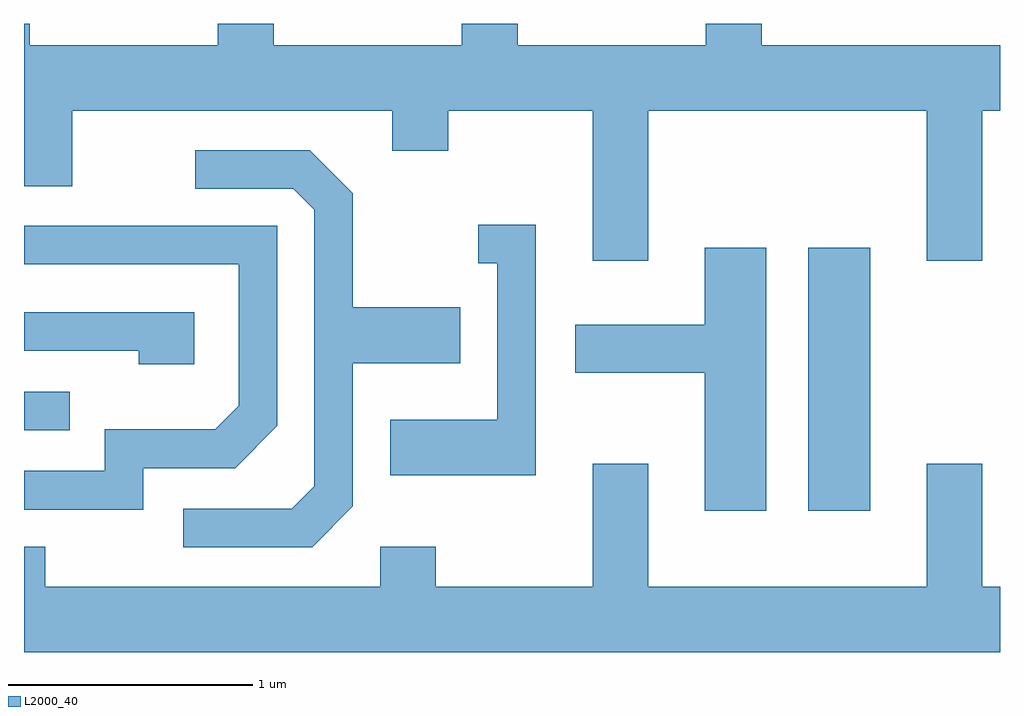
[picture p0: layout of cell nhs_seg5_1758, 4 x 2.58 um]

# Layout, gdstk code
import gdstk
lib = gdstk.Library(unit=1e-6, precision=1e-09)
def R(c, l, rs):  # rectangles x0, y0, x1, y1
    for r in rs: c.add(gdstk.rectangle(r[:2], r[2:], *l))
def P(c, l, *ps):  # polygons
    for p in ps: c.add(gdstk.Polygon(p, *l))
L2000_40 = (2000, 40)

nhs_seg5_1758 = lib.new_cell('nhs_seg5_1758')
R(nhs_seg5_1758, L2000_40, [(240.826,1424.076,241.079,1425.154), (237.611,1424.406,237.798,1424.564)])
P(nhs_seg5_1758, L2000_40, [(239.634,1426.072),(239.406,1426.072),(239.406,1425.984),(238.634,1425.984),(238.634,1426.072),(238.406,1426.072),(238.406,1425.984),(237.634,1425.984),(237.634,1426.072),(237.611,1426.072),(237.611,1425.406),(237.809,1425.406),(237.809,1425.716),(239.121,1425.716),(239.121,1425.551),(239.349,1425.551),(239.349,1425.716),(239.941,1425.716),(239.941,1425.101),(240.169,1425.101),(240.169,1425.716),(241.311,1425.716),(241.311,1425.101),(241.539,1425.101),(241.539,1425.716),(241.611,1425.716),(241.611,1425.984),(240.634,1425.984),(240.634,1426.072),(240.406,1426.072),(240.406,1425.984),(239.634,1425.984)],
  [(238.959,1424.094),(238.959,1424.681),(239.399,1424.681),(239.399,1424.909),(238.959,1424.909),(238.959,1425.377),(238.782,1425.554),(238.313,1425.554),(238.313,1425.396),(238.714,1425.396),(238.801,1425.309),(238.801,1424.177),(238.709,1424.084),(238.263,1424.084),(238.263,1423.926),(238.792,1423.926)],
  [(239.709,1425.249),(239.473,1425.249),(239.473,1425.091),(239.551,1425.091),(239.551,1424.449),(239.111,1424.449),(239.111,1424.221),(239.709,1424.221)],
  [(238.099,1424.251),(238.477,1424.251),(238.649,1424.424),(238.649,1425.244),(237.611,1425.244),(237.611,1425.086),(238.491,1425.086),(238.491,1424.507),(238.394,1424.409),(237.941,1424.409),(237.941,1424.239),(237.611,1424.239),(237.611,1424.081),(238.099,1424.081)],
  [(240.654,1425.154),(240.401,1425.154),(240.401,1424.839),(239.871,1424.839),(239.871,1424.641),(240.401,1424.641),(240.401,1424.076),(240.654,1424.076)],
  [(238.309,1424.889),(237.611,1424.889),(237.611,1424.731),(238.081,1424.731),(238.081,1424.676),(238.309,1424.676)],
  [(241.611,1423.764),(241.539,1423.764),(241.539,1424.269),(241.311,1424.269),(241.311,1423.764),(240.169,1423.764),(240.169,1424.269),(239.941,1424.269),(239.941,1423.764),(239.299,1423.764),(239.299,1423.929),(239.071,1423.929),(239.071,1423.764),(237.699,1423.764),(237.699,1423.929),(237.611,1423.929),(237.611,1423.496),(241.611,1423.496)])

lib.write_gds('nhs_seg5_1758.gds')
